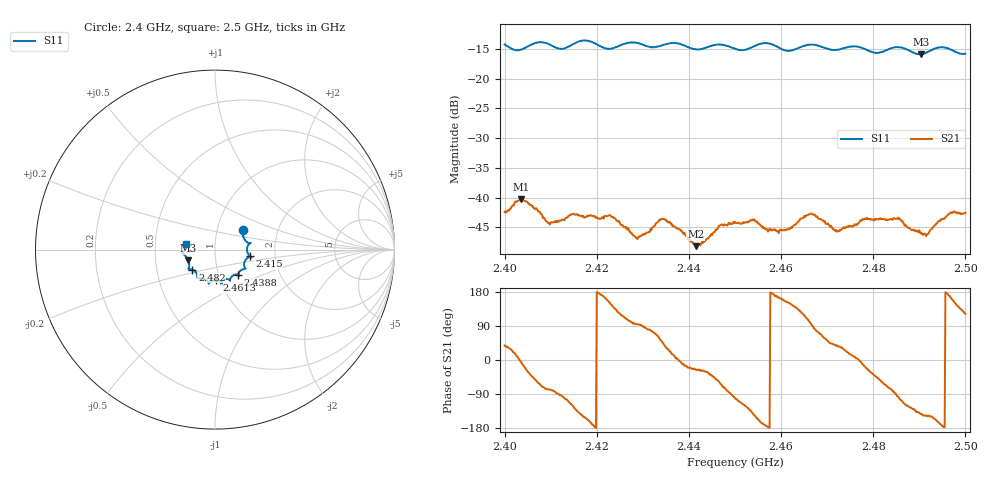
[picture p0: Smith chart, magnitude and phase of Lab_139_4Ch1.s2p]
# Hz S RI R 50
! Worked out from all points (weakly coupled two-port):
!   601 points, 2.4 GHz to 2.5 GHz, reference 50 ohm
!   highest |S21| = -40.23 dB at 2.4035 GHz (marker M1); lowest = -48.1 dB at 2.4415 GHz (marker M2)
!   lowest |S11| = -15.9 dB at 2.4903 GHz (marker M3), VSWR 1.38, Z = 36.8 - j4.46 ohm
!   |S11| at or under -10 dB: start of sweep to end of sweep
!   S12 and S22 are empty: the file has one direction only
!   S11 on the Smith chart (normalised r, x): 2.4 GHz: 1.33, +0.31; 2.415 GHz: 1.47, -0.11; 2.4388 GHz: 1.24, -0.36; 2.4613 GHz: 0.96, -0.34; 2.482 GHz: 0.76, -0.17; 2.5 GHz: 0.72, +0.05
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2.4e9  0.1583 0.1118  0.00597 0.00468  0 0  0 0
2.4035e9  0.1663 0.0546  0.00971 -0.000723  0 0  0 0
2.4095e9  0.1926 0.0345  0.00138 -0.00595  0 0  0 0
2.415e9  0.1927 -0.0361  -0.00417 -0.00602  0 0  0 0
2.416667e9  0.2036 -0.0438  -0.00565 -0.00417  0 0  0 0
2.423e9  0.1634 -0.0721  -0.00596 0.0038  0 0  0 0
2.428833e9  0.1687 -0.1062  -0.00035 0.00448  0 0  0 0
2.433333e9  0.1322 -0.1317  0.00292 0.00559  0 0  0 0
2.438833e9  0.1296 -0.1404  0.00487 -0.000929  0 0  0 0
2.4415e9  0.1045 -0.1419  0.00355 -0.00166  0 0  0 0
2.446833e9  0.0843 -0.1741  0.00268 -0.00525  0 0  0 0
2.45e9  0.069 -0.1648  -0.00117 -0.00612  0 0  0 0
2.453833e9  0.0351 -0.1817  -0.00511 -0.00414  0 0  0 0
2.456833e9  0.0385 -0.1953  -0.00545 -0.000578  0 0  0 0
2.461333e9  0.00779 -0.1713  -0.00477 0.00248  0 0  0 0
2.466667e9  -0.0349 -0.1902  -0.000199 0.00738  0 0  0 0
2.472167e9  -0.0679 -0.161  0.00408 0.00322  0 0  0 0
2.482e9  -0.1259 -0.1115  0.00344 -0.00561  0 0  0 0
2.483333e9  -0.1394 -0.1088  0.00186 -0.00627  0 0  0 0
2.490333e9  -0.1492 -0.0591  -0.00398 -0.003  0 0  0 0
2.494667e9  -0.1824 -0.0204  -0.00651 -0.00108  0 0  0 0
2.5e9  -0.1589 0.0327  -0.00393 0.00636  0 0  0 0
